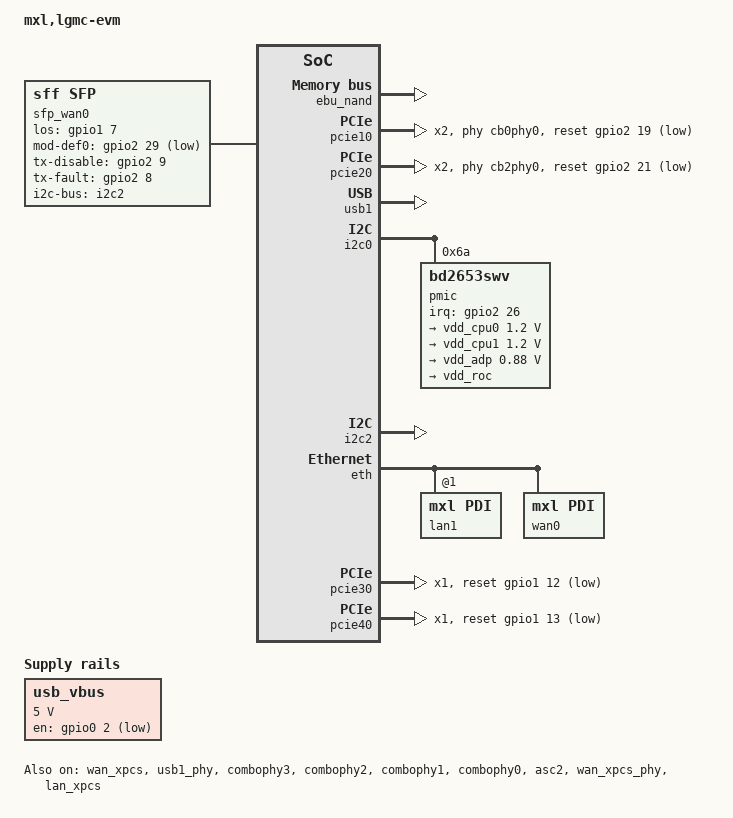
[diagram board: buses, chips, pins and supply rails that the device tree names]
// SPDX-License-Identifier: GPL-2.0
/*
 * Copyright (C) 2024 MaxLinear, Inc.
 */

#include <dt-bindings/gpio/gpio.h>
#include <dt-bindings/interrupt-controller/irq.h>
#include <dt-bindings/thermal/thermal.h>

#include "lightning_mountain_c.dtsi"
#include "firewall_domain.dtsi"
#include "noc_firewall.dtsi"
#include "lgp_thermal.dtsi"

/ {
	model = "mxl,lgmc-evm";

	chosen {
		/* ramfs */
		bootargs = "earlycon console=ttyLTQ0,115200n8r root=/dev/ram init=/init maxcpus=2 initcall_debug=0 clk_ignore_unused loglevel=8";
		stdout-path = "serial0";
	};

	bbu: battery_backup {
		compatible = "mxl,power-bbu";
		status = "disabled";
	};

	thermal-zones {
		/delete-node/ cpu2-thermal;
		/delete-node/ cpu3-thermal;
		/delete-node/ p34-thermal;
	};
};

/* EMMC setting */
&emmc {
	status = "disabled";
	bus-width = <8>;
	non-removable;
	no-mmc-hs400;
};

&emmc_phy {
	status = "disabled";
};

/* ebu nand */
&ebu_nand {
	status = "okay";
	nand,cs = <1>;
	nand-ecc-mode = "hw";
	nand-ecc-algo = "bch";
	nand-ecc-strength = <8>;
	pinctrl-names = "default";
	pinctrl-0 = <&pinctrl_ebu_nand_base &pinctrl_ebu_nand_cs1>;
};

/* qpsi nand */
&pinctrl_qspi {
	intel,slew-rate = <1>;
	intel,drive-current = <3>;
};

&qspi0 {
	status = "disabled";
	mxl-spinand@1 {
		#address-cells = <1>;
		#size-cells = <1>;
		compatible = "spi-nand";
		reg = <1>;
		spi-max-frequency = <100000000>;
		page-size = <2048>;
		block-size = <17>; // 2^17, 128KB
		spi-tx-bus-width = <4>;
		spi-rx-bus-width = <4>;
		pinctrl-names = "default";
		pinctrl-0 = <&pinctrl_qspi &pinctrl_qspi_cs1>;

		cdns,read-delay = <3>;
		cdns,tshsl-ns = <200>;
		cdns,tsd2d-ns = <255>;
		cdns,tchsh-ns = <20>;
		cdns,tslch-ns = <20>;
	};
};

/******************************************************************************
 ** Board configuration: XPCS SERDES Parameters
 ******************************************************************************/
&wan_xpcs {
	rx_attn_lvl = <0 0 0 0 0 0 0 0>;
	rx_ctle_boost = <18 18 18 16 16 16 16 16>;
	rx_ctle_pole = <0 0 0 2 2 2 2 2>;
	rx_vga1_gain = <4 4 4 5 5 5 5 5>;
	rx_vga2_gain = <4 4 4 5 5 5 5 5>;
	rx_dfe_bypass = <1 1 1 0 0 0 0 0>;
	cont_adapt_en = <0 0 0 1 1 1 1 1>;
	rx_cali = <0 0 0 0 0 0 0 0>;
	tx_vboost_en = <1 1 1 1 1 1 1 1>;
	tx_vboost_lvl = <5 5 5 5 5 5 5 5>;
	tx_iboost_lvl = <15 15 15 15 15 15 15 15>;
	tx_eq_main = <16 16 19 28 28 28 28 28>;
	tx_eq_pre = <4 4 4 16 16 16 16 16>;
	tx_eq_post = <4 4 4 32 32 32 32 32>;
	tx_eq_ovrride = <1 1 1 1 1 1 1 1>;
};

&lan_xpcs {
	rx_attn_lvl = <0 0 0 7 7 7 7 7>;
	rx_ctle_boost = <18 18 18 0 0 0 0 0>;
	rx_ctle_pole = <0 0 0 2 2 2 2 2>;
	rx_vga1_gain = <4 4 4 5 5 5 5 5>;
	rx_vga2_gain = <4 4 4 5 5 5 5 5>;
	rx_dfe_bypass = <1 1 1 1 1 1 1 1>;
	cont_adapt_en = <0 0 0 1 1 1 1 1>;
	rx_cali = <0 0 0 0 0 0 0 0>;
	tx_vboost_en = <1 1 1 1 1 1 1 1>;
	tx_vboost_lvl = <5 5 5 5 5 5 5 5>;
	tx_iboost_lvl = <15 15 15 15 15 15 15 15>;
	tx_eq_main = <16 16 19 40 40 40 40 40>;
	tx_eq_pre = <4 4 4 0 0 0 0 0>;
	tx_eq_post = <4 4 4 0 0 0 0 0>;
	tx_eq_ovrride = <1 1 1 1 1 1 1 1>;
};

&hsior_xpcs0 {
	rx_attn_lvl = <0 0 0 0 0 0 0 0>;
	rx_ctle_boost = <18 18 18 16 16 16 16 16>;
	rx_ctle_pole = <0 0 0 2 2 2 2 2>;
	rx_vga1_gain = <4 4 4 5 5 5 5 5>;
	rx_vga2_gain = <4 4 4 5 5 5 5 5>;
	rx_dfe_bypass = <1 1 1 0 0 0 0 0>;
	cont_adapt_en = <0 0 0 1 1 1 1 1>;
	rx_cali = <1 1 1 1 1 1 1 1>;
	tx_vboost_en = <1 1 1 1 1 1 1 1>;
	tx_vboost_lvl = <5 5 5 5 5 5 5 5>;
	tx_iboost_lvl = <15 15 15 15 15 15 15 15>;
	tx_eq_main = <16 16 19 28 28 28 28 28>;
	tx_eq_pre = <4 4 4 16 16 16 16 16>;
	tx_eq_post = <4 4 4 32 32 32 32 32>;
	tx_eq_ovrride = <1 1 1 1 1 1 1 1>;
};

&hsior_xpcs1 {
	rx_attn_lvl = <0 0 0 0 0 0 0 0>;
	rx_ctle_boost = <18 18 18 16 16 16 16 16>;
	rx_ctle_pole = <0 0 0 2 2 2 2 2>;
	rx_vga1_gain = <4 4 4 5 5 5 5 5>;
	rx_vga2_gain = <4 4 4 5 5 5 5 5>;
	rx_dfe_bypass = <1 1 1 0 0 0 0 0>;
	cont_adapt_en = <0 0 0 1 1 1 1 1>;
	rx_cali = <1 1 1 1 1 1 1 1>;
	tx_vboost_en = <1 1 1 1 1 1 1 1>;
	tx_vboost_lvl = <5 5 5 5 5 5 5 5>;
	tx_iboost_lvl = <15 15 15 15 15 15 15 15>;
	tx_eq_main = <16 16 19 28 28 28 28 28>;
	tx_eq_pre = <4 4 4 16 16 16 16 16>;
	tx_eq_post = <4 4 4 32 32 32 32 32>;
	tx_eq_ovrride = <1 1 1 1 1 1 1 1>;
};

/* PCIe */
&pcie10 { /* WiFI */
	status = "okay";
	reset-assert-ms = <200>;
	reset-gpios = <&gpio2 19 GPIO_ACTIVE_LOW>; /* GPIO 83 */
	num-lanes = <2>;
	phys = <&cb0phy0 PHY_TYPE_PCIE_DL>;
};

&pcie20 { /* Docsis */
	status = "okay";
	reset-assert-ms = <200>;
	reset-gpios = <&gpio2 21 GPIO_ACTIVE_LOW>; /* GPIO 85 */
	num-lanes = <2>;
	phys = <&cb2phy0 PHY_TYPE_PCIE_DL>;
};

/ {
	aliases {
		eth0_1 = &lan1; /* 10G  LAN    */
		eth0_8 = &lan8; /* AIC 10GPHY  */
	};

	wan {
		ifname = "eth1";
	};

	usb_vbus:regulator-vbus {
		compatible = "regulator-fixed";
		regulator-name = "usb0_vbus";
		regulator-min-microvolt = <5000000>;
		regulator-max-microvolt = <5000000>;
		gpio = <&gpio0 2 1>;
		enable-active-low;
	};
};

/* USB */
&usb1_phy {
	status = "okay";
	vbus-supply = <&usb_vbus>;
};

&usb1 {
	status = "okay";
};

/* I2C */
&i2c0 {
	status = "okay";

	pmic: pmic@6a {
		compatible = "bd2653swv";
		pinctrl-names = "default";
		pinctrl-0 = <&pinctrl_pmic_function>;
		reg = <0x6a>;
		interrupt-parent = <&gpio2>;
		interrupts = <26 IRQ_TYPE_LEVEL_HIGH>;

		vdd_cpu0: BUCK0 {
			regulator-compatible = "buck0";
			regulator-name = "cpu0";
			regulator-min-microvolt = <0>;
			regulator-max-microvolt = <1200000>;
		};

		vdd_cpu1: BUCK1 {
			regulator-compatible = "buck1";
			regulator-name = "cpu1";
			regulator-min-microvolt = <0>;
			regulator-max-microvolt = <1200000>;
		};

		vdd_adp: BUCK2 {
			regulator-compatible = "buck2";
			regulator-name = "adp";
			regulator-min-microvolt = <0>;
			regulator-max-microvolt = <880000>;
		};

		vdd_roc: BUCK3 {
			regulator-compatible = "buck3";
			regulator-name = "roc";
		};
	};
};

&i2c1 {
	status = "disabled";
};

&i2c2 {
	status = "okay";
	at24: at24@0x50 {
		compatible = "atmel,24c64";
		reg = <0x50>;
		status = "disabled";
	};
};

&i2c3 {
	status = "disabled";

	#address-cells = <1>;
	#size-cells = <0>;
	i2c_mux:i2c-mux@70 {
		status = "disabled";
		compatible = "nxp,pca9546";
		#address-cells = <1>;
		#size-cells = <0>;
		reg = <0x70>;
		reset-gpios = <&gpio0 18 GPIO_ACTIVE_LOW>; /* GPIO 18 */
	};

	i2c_expander:i2c_expander@44 {
		#address-cells = <1>;
		#size-cells = <0>;
		compatible = "diodes,pi4io";

		status = "disabled";
		reg = <0x44>;
		gpio-controller;
		#gpio-cells = <2>;
	};
};

&pvt {
	rising-alarm = <85000>;
	rising-hsyt = <80000>;
	falling-alarm = <80000>;
	falling-hsyt = <85000>;
};

&epu {
	vdd-cpu0-supply = <&vdd_cpu0>;
	vdd-cpu1-supply = <&vdd_cpu1>;
	vdd-adp-supply = <&vdd_adp>;
};

/******************************************************************************
 ** Board configuration: Configure LAN/WAN interfaces
 ******************************************************************************/
/ {
	sfp_wan0: sfp-wan0 {
		status = "okay";
		compatible = "sff,sfp";
		i2c-bus = <&i2c2>;
		los-gpios = <&gpio1 7 GPIO_ACTIVE_HIGH>; /* GPIO 39 */
		mod-def0-gpios = <&gpio2 29 GPIO_ACTIVE_LOW>; /* GPIO 93 */
		maximum-power-milliwatt = <3000>;
		tx-disable-gpios = <&gpio2 9 GPIO_ACTIVE_HIGH>; /* GPIO 73 */
		tx-fault-gpios = <&gpio2 8 GPIO_ACTIVE_HIGH>;  /* GPIO 72 */
	};
};

&pinctrl_mdio_mdc_lan {
	drive-strength = <3>;
};

&eth {
	status = "okay";

	lan1: interface@1 {
		status = "okay";

		#address-cells = <1>;
		#size-cells = <0>;
		compatible = "mxl,pdi";
		mxl,dp-dev-port = <5>;
		mxl,dp-port-id = <5>;
		mxl,xgmac-id = <5>;
		mxl,dp-port-10g;
		mac = <&gsw_mac3>;
		phy-mode = "1000base-x";
		fixed-link {
			speed = <1000>;
			full-duplex;
			pause;
			asym-pause;
		};

		lan1_eth: ethernet@1 {
			compatible = "mxl,pdi-port";
			reg = <1>;
			phy-mode = "1000base-x";
		};
	};

	lan8: interface@8 { /* AIC 10GPHY */
		status = "disabled";

		#address-cells = <1>;
		#size-cells = <0>;
		compatible = "mxl,pdi";
		mxl,dp-dev-port = <4>;
		mxl,dp-port-id = <4>;
		mxl,xgmac-id = <4>;
		mxl,dp-port-10g;
		mac = <&gsw_mac2>;
		phy-mode = "usxgmii";

		lan8_eth: ethernet@8 {
			compatible = "mxl,pdi-port";
			reg = <8>;
			phy-mode = "usxgmii";
		};
	};

	wan0 {
		status = "okay";

		#address-cells = <1>;
		#size-cells = <0>;
		compatible = "mxl,pdi";

		mxl,wan = <1>;
		mxl,dp-dev-port = <2>;
		mxl,dp-port-id = <2>;
		mxl,dp-port-10g;
		mxl,xgmac-id = <2>;
		mxl,pon_hgu_sim = <0>;
		mac = <&gsw_mac0>;
		phy-mode = "10gbase-kr";
		sfp = <&sfp_wan0>;

		wan0_eth: ethernet@8 {
			compatible = "mxl,pdi-port";
			reg = <0>;
			phy-mode = "10gbase-kr";
		};
	};
};

&combophy3 {
	status = "okay";
	intel,refclkid = <5>;
};

&combophy2 {
	status = "okay";
	intel,refclkid = <4>;
};

&combophy1 {
	status = "okay";
	intel,refclkid = <1>;
};

&combophy0 {
	status = "okay";
	intel,refclkid = <0>;
};

/******************************************************************************
**  PCIE devices temperature sensor node definition
*******************************************************************************/
/ {
	wave_6_0: iwlwave@0 {
		compatible = "mxl,wave";
		wave-band = <2>;  /* 6GHz */
		/* type - 0/1,	param - param required for Cooling type
		 * type 0 for Duty Cycle, 1 for Antenna count
		 */
		max-cooling-state = <3>;
		cooling-states = <
			/* type param */
			1  3
			1  2
			1  1
		>;

		#thermal-sensor-cells = <0>;
		#cooling-cells = <2>;
	};

	wave_5_0: iwlwave@1 {
		compatible = "mxl,wave";
		wave-band = <0>;  /* 5GHz */
		/* type - 0/1,	param - param required for Cooling type
		 * type 0 for Duty Cycle, 1 for Antenna count
		 */
		max-cooling-state = <3>;
		cooling-states = <
			/* type param */
			1  3
			1  2
			1  1
		>;

		#thermal-sensor-cells = <0>;
		#cooling-cells = <2>;
	};

	wave_2_4: iwlwave@2 {
		compatible = "mxl,wave";
		wave-band = <1>;  /* 2.4GHz */
		/* type - 0/1,	param - param required for Cooling type
		 * type 0 for Duty Cycle, 1 for Antenna count
		 */
		max-cooling-state = <3>;
		cooling-states = <
			/* type param */
			1  3
			1  2
			1  1
		>;

		#thermal-sensor-cells = <0>;
		#cooling-cells = <2>;
	};
};

/******************************************************************************
 ** Board configuration: Configure DECT interfaces
 ******************************************************************************/
&ssc1 {
	status = "disabled";
	pinctrl-names = "default";
	pinctrl-0 = <&pinctrl_spi1>;
	dect@0 {
		compatible = "intel,dect_spi";
		spi-max-frequency = <4000000>;
		reg = <0>;
		interrupts = <25 IRQ_TYPE_EDGE_FALLING>;
		interrupt-parent = <&gpio2>;
		reset-gpios = <&ssogpio 13 GPIO_ACTIVE_HIGH>;
		intel,dect-cs = <&gpio0 14 GPIO_ACTIVE_LOW >;
		spi-cpol;
		spi-cpha;
	};
};

&cgu0 {
	cgussc {
		#address-cells = <1>;
		#size-cells = <0>;

		/* SSC in LJPLL4 for PCIe */
		cgussc1: cgussc@110 {
			reg = <0x110>;
			intel,ssc-enable = <1>;
			intel,ssc-spread = <5>;
			intel,ssc-dir = <1>; /* 0: center, 1: down */
			intel,ssc-divval = <10>;
		};
	};
};

&pinctrl {
	pinctrl_ledc0_rst: ledc0_rst {
		intel,pins = <9>;
		function = "ssoled0_rst";
		pinmux = <0>;
		groups = "ledc0_rst";
	};
};

&pwm {
	status = "disabled";
	intel,fan-wire = <2>;
	pinctrl-names = "default";
	pinctrl-0 = <&pinctrl_fan_ctrl_in_1 &pinctrl_fan_ctrl_out>;
};

&fan0 {
	status = "disabled";
	pwms = <&pwm 0 40000>;
	#cooling-cells = <2>;
	cooling-levels = <0 30 80 120 150 170 200 220 255>;
};

&crypto {
	inside-secure,no-of-pes = <1>;
};

&cb1phy0 {
	/delete-property/ mxl,peripheral;
};

&cb3phy0 {
	/delete-property/ mxl,peripheral;
};

&pcie30 {
	status = "okay";
	reset-assert-ms = <200>;
	reset-gpios = <&gpio1 12 GPIO_ACTIVE_LOW>; /* GPIO 44 */
	num-lanes = <1>;
};

&pcie40 {
	status = "okay";
	reset-assert-ms = <200>;
	reset-gpios = <&gpio1 13 GPIO_ACTIVE_LOW>; /* GPIO 45 */
	num-lanes = <1>;
};

&asc2 {
	status = "okay";
	pinctrl-0 = <&uart2>, <&uart2_hwfc>;
	uart-has-rtscts;
};

/* WAN XPCS PHY */
&wan_xpcs_phy {
	status = "okay";
};

&wan_xpcs {
	status = "okay";
	xpcs-mode = <1>; /* <0> - SGMII, <1> - 1000BaseX, <2> - 2500BaseX, <3> - 5GBaseR, <4> - 10GBaseR, <5> - USXGMII, <6> - 10GKR, <7> - QUSXGMII */
	xpcs-cl37 = <1 3 3 0 0 1 0 1>; /* <0> - disable, <1> - SGMII MAC side, <2> - SGMII PHY side, <3> - BaseX */
};

/{
	soc {
		/delete-node/ p34x@0;

		lan_xpcs: xpcs@5 {
			id = <5>;
			compatible = "mxl,lgm-xpcs";
			status = "okay";
			reg =<0xE7600000 0x400>;
			clocks = <&cgu0 LGM_CLK_SERDES>;
			interrupt-parent = <&ioapic1>;
			interrupts = <60 1>;
			lineclk,syscon = <&sysconf>;	/* chiptop */
			lineclk,offset = <0x120>;
			lineclk,bit = <16>;
			/*phys = <&lan_xpcs_phy>;*/
			resets = <
				&rcu0 0x70 17
				&rcu0 0x70 16
				&rcu0 0x70 15
			>;
			xpcs-name = "lan_xpcs";
			xpcs-mode = <1>; /* <0> - SGMII, <1> - 1000BaseX, <2> - 2500BaseX, <3> - 5GBaseR, <4> - 10GBaseR, <5> - USXGMII, <6> - 10GKR, <7> - QUSXGMII */
			xpcs-cl37 = <1 3 0 0 0 1 0 1>; /* <0> - disable, <1> - SGMII MAC side, <2> - SGMII PHY side, <3> - BaseX */
			xpcs-cl73 = <0 0 0 0 0 0 0 0>; /* <0> - disable, <1> - enable */
		};
	};
};

&lan_xpcs {
	mpllb = <1>; /* use mpllb for lan xpcs in case of 1G xpcs mode */
};

&gsw_mac3 {
	xpcs = <&lan_xpcs>;
};

